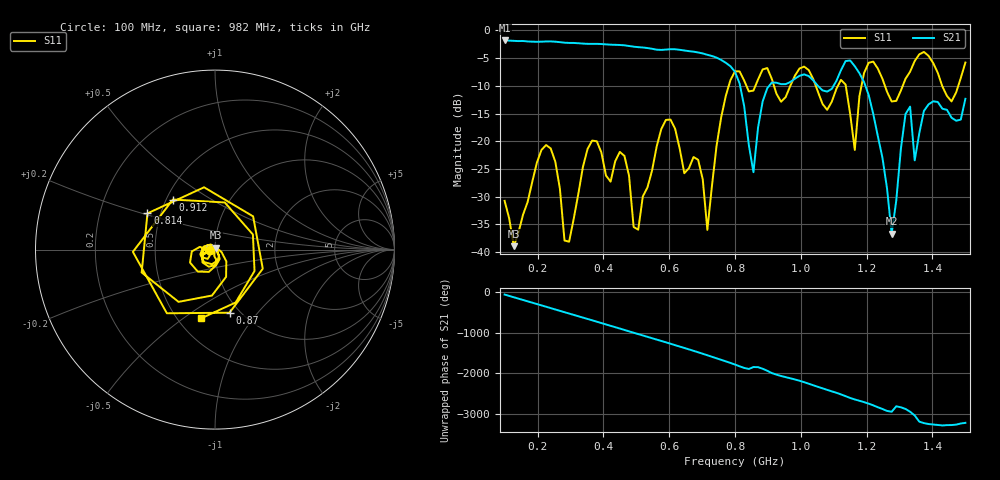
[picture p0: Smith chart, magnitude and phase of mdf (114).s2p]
! NanoVNA-App
! Date: 2025-09-25 15:39:19
! Start: 100MHz Stop: 1,5GHz Points: 101
! S-Parameter data: F S11 S21 S12 S22
# Hz S RI R 50
!  Frequency  S11_Real  S11_Imag  S21_Real  S21_Imag  S12_Real  S12_Imag  S22_Real  S22_Imag
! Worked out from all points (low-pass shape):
!   101 points, 100 MHz to 1.5 GHz, reference 50 ohm
!   highest |S21| = -1.80 dB at 100 MHz (marker M1); lowest = -36.7 dB at 1.276 GHz (marker M2)
!   |S21| within 3 dB of the highest: start of sweep to 739.2 MHz
!   lowest |S11| = -39.0 dB at 128 MHz (marker M3), VSWR 1.02, Z = 50.3 + j1.08 ohm
!   |S11| at or under -10 dB: start of sweep to 781 MHz; 918.5 MHz to 968 MHz (49.53 MHz wide, 5.25 % of centre); 1.045 GHz to 1.113 GHz (67.4 MHz wide, 6.25 % of centre) (the widest 3 of 7)
!   S12 and S22 are empty: the file has one direction only
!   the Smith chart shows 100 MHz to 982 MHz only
!   S11 on the Smith chart (normalised r, x): 100 MHz: 0.94, -0.01; 814 MHz: 0.42, +0.21; 870 MHz: 0.90, -0.73; 912 MHz: 0.54, +0.35; 982 MHz: 0.65, -0.59
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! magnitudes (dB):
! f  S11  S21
! 100 MHz  -30.8  -1.8
! 128 MHz  -39.0  -1.9
! 212 MHz  -21.6  -2.0
! 282 MHz  -37.9  -2.2
! 338 MHz  -24.6  -2.4
! 464 MHz  -22.6  -2.7
! 506 MHz  -36.0  -3.0
! 576 MHz  -17.8  -3.5
! 688 MHz  -23.4  -4.0
! 716 MHz  -36.0  -4.4
! 800 MHz  -7.4  -7.5
! 814 MHz  -7.4  -9.6
! 856 MHz  -10.9  -25.6
! 870 MHz  -8.9  -17.6
! 912 MHz  -8.8  -9.4
! 982 MHz  -8.2  -8.7
! 1.038 GHz  -8.8  -9.0
! 1.164 GHz  -21.6  -6.5
! 1.192 GHz  -7.7  -9.3
! 1.276 GHz  -12.8  -36.7
! 1.318 GHz  -8.7  -15.1
! 1.5 GHz  -5.8  -12.3
